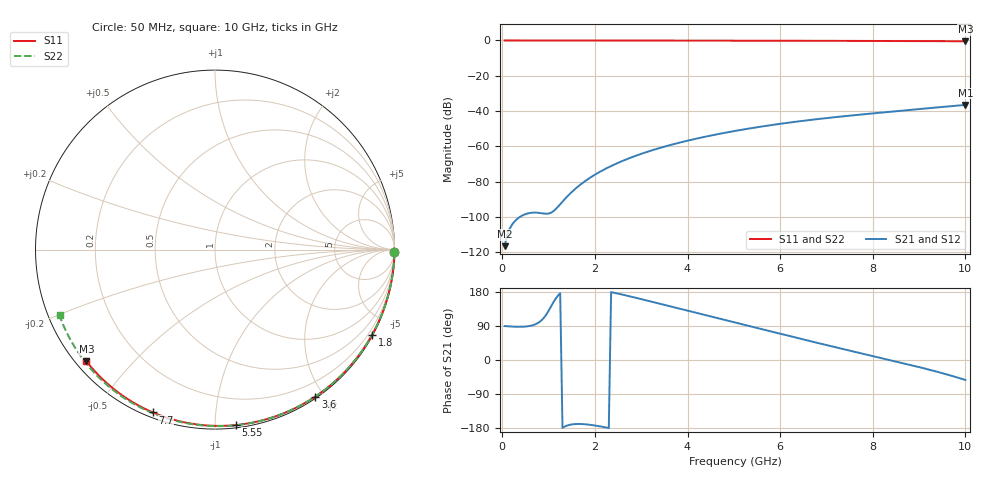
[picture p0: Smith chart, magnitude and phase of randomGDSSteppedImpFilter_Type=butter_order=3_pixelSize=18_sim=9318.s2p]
! freq	dB(S11)	phase(S11)	dB(S12)	phase(S12)
!  dB(S21)	phase(S21)	dB(S22)	phase(S22)
!S-par simulation data
#  GHz  S  DB  R 50
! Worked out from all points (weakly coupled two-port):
!   200 points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, 50 MHz to 10 GHz, reference 50 ohm
!   highest |S21| = -36.58 dB at 10 GHz (marker M1); lowest = -116.7 dB at 50 MHz (marker M2)
!   lowest |S11| = -0.5 dB at 10 GHz (marker M3), VSWR 38.46, Z = 1.48 - j18.7 ohm
!   |S11| at or under -10 dB: nowhere
!   |S22| runs from -0.5 to 0.0 dB; largest |S21 - S12| = 0
!   S11 on the Smith chart (normalised r, x): 50 MHz: open; 1.8 GHz: 0.03, -3.93; 3.6 GHz: 0.02, -1.89; 5.55 GHz: 0.02, -1.13; 7.7 GHz: 0.02, -0.69; 10 GHz: 0.03, -0.37
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0.05  -0.00 -0.8  -116.66 89.6  -116.66 89.6  -0.00 -0.9
0.45  -0.01 -7.2  -99.03 87.9  -99.03 87.9  -0.01 -8.2
0.85  -0.02 -13.6  -97.98 105.1  -97.98 105.1  -0.02 -15.4
1.3  -0.03 -20.7  -91.39 -179.2  -91.39 -179.2  -0.03 -23.4
1.75  -0.04 -27.7  -80.49 -169.2  -80.49 -169.2  -0.04 -31.3
1.8  -0.04 -28.5  -79.54 -169.7  -79.54 -169.7  -0.04 -32.2
1.95  -0.04 -30.8  -76.93 -171.9  -76.93 -171.9  -0.04 -34.8
2.1  -0.04 -33.2  -74.60 -174.9  -74.60 -174.9  -0.05 -37.4
2.3  -0.05 -36.2  -71.85 -179.6  -71.85 -179.6  -0.05 -40.9
2.5  -0.05 -39.3  -69.40 175.2  -69.40 175.2  -0.06 -44.3
2.9  -0.06 -45.3  -65.22 163.7  -65.22 163.7  -0.07 -51.1
3.4  -0.07 -52.8  -60.97 148.6  -60.97 148.6  -0.08 -59.4
3.6  -0.08 -55.7  -59.49 142.5  -59.49 142.5  -0.08 -62.7
4.3  -0.09 -65.8  -55.05 121.0  -55.05 121.0  -0.11 -74.0
5.05  -0.12 -76.3  -51.20 98.2  -51.20 98.2  -0.13 -85.7
5.55  -0.14 -83.1  -49.02 83.0  -49.02 83.0  -0.15 -93.3
6.1  -0.16 -90.4  -46.91 66.3  -46.91 66.3  -0.18 -101.5
6.7  -0.19 -98.2  -44.92 48.3  -44.92 48.3  -0.22 -110.2
7.7  -0.25 -110.9  -42.13 19.0  -42.13 19.0  -0.29 -124.5
8.35  -0.31 -119.0  -40.51 0.4  -40.51 0.4  -0.34 -133.7
9.2  -0.38 -129.3  -38.42 -24.9  -38.42 -24.9  -0.43 -145.7
10  -0.45 -139.0  -36.58 -52.6  -36.58 -52.6  -0.53 -157.1
